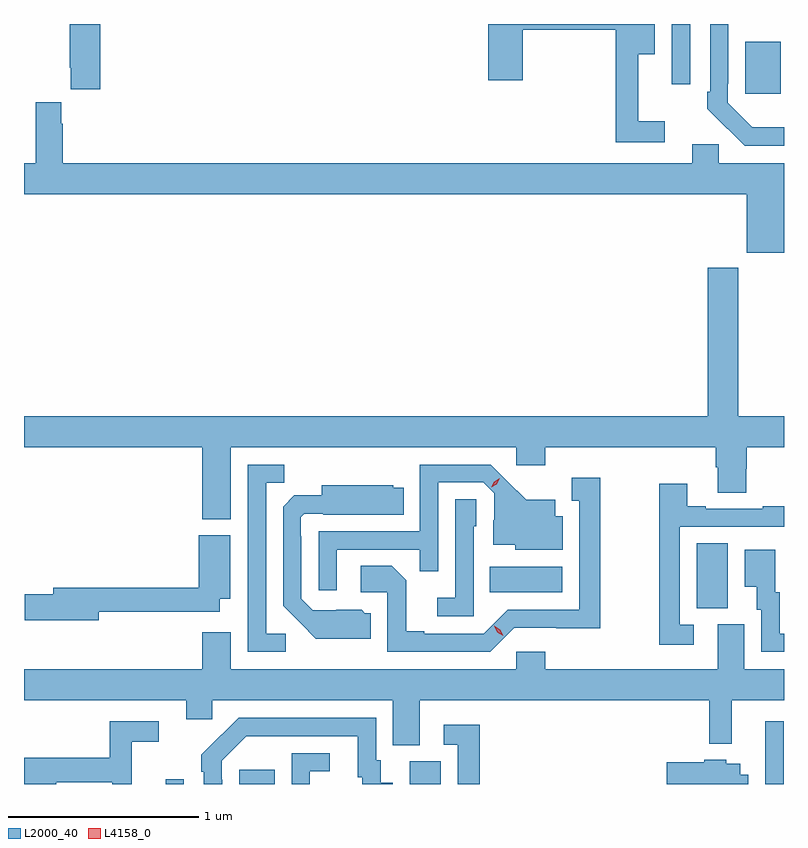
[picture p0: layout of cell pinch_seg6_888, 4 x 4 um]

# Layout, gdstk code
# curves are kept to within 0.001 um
import gdstk
lib = gdstk.Library(unit=1e-6, precision=1e-09)
def R(c, l, rs):  # rectangles x0, y0, x1, y1
    for r in rs: c.add(gdstk.rectangle(r[:2], r[2:], *l))
def P(c, l, *ps):  # polygons
    for p in ps: c.add(gdstk.Polygon(p, *l))
L2000_40 = (2000, 40)
L4158_0 = (4158, 0)

pinch_seg6_888 = lib.new_cell('pinch_seg6_888')
R(pinch_seg6_888, L2000_40, [(328.137,933.576,328.233,933.601), (328.523,933.576,328.711,933.652), (329.42,933.576,329.584,933.696), (331.293,933.576,331.39,933.907), (330.932,934.501,331.096,934.844), (329.842,934.586,330.223,934.72), (331.187,937.209,331.375,937.483), (330.801,937.26,330.897,937.576)])
P(pinch_seg6_888, L2000_40, [(330.763,937.063),(330.623,937.063),(330.623,937.418),(330.712,937.418),(330.712,937.576),(329.834,937.576),(329.834,937.281),(330.017,937.281),(330.017,937.546),(330.505,937.546),(330.505,936.954),(330.763,936.954)],
  [(327.791,937.576),(327.631,937.576),(327.631,937.345),(327.637,937.345),(327.637,937.233),(327.791,937.233)],
  [(331.391,937.032),(331.224,937.033),(331.095,937.161),(331.095,937.261),(331.098,937.261),(331.098,937.576),(331.002,937.576),(331.002,937.219),(330.987,937.219),(330.987,937.131),(331.184,936.936),(331.391,936.936)],
  [(331.391,936.844),(331.047,936.844),(331.047,936.942),(330.908,936.942),(330.908,936.844),(327.596,936.844),(327.596,937.052),(327.586,937.052),(327.586,937.165),(327.452,937.165),(327.452,936.844),(327.391,936.844),(327.391,936.68),(331.196,936.68),(331.196,936.371),(331.391,936.371)],
  [(328.48,935.348),(329.982,935.348),(329.982,935.253),(330.134,935.253),(330.134,935.348),(331.031,935.348),(331.031,935.242),(331.043,935.242),(331.043,935.11),(331.191,935.11),(331.191,935.235),(331.196,935.235),(331.196,935.348),(331.391,935.348),(331.391,935.512),(331.149,935.512),(331.149,936.292),(330.989,936.292),(330.989,935.512),(327.391,935.512),(327.391,935.348),(328.328,935.348),(328.328,934.97),(328.48,934.97)],
  [(329.037,934.809),(329.473,934.809),(329.473,934.696),(329.571,934.696),(329.571,935.163),(329.808,935.163),(329.865,935.106),(329.865,934.964),(329.861,934.964),(329.861,934.835),(329.976,934.835),(329.976,934.808),(330.226,934.808),(330.226,934.984),(330.187,934.984),(330.187,935.071),(330.035,935.071),(329.848,935.256),(329.475,935.256),(329.475,934.905),(328.941,934.905),(328.941,934.596),(329.037,934.596)],
  [(328.768,934.368),(328.665,934.368),(328.665,935.161),(328.761,935.161),(328.761,935.256),(328.569,935.256),(328.569,934.272),(328.768,934.272)],
  [(329.97,934.398),(330.425,934.397),(330.425,935.188),(330.275,935.188),(330.275,935.067),(330.314,935.067),(330.314,934.494),(329.937,934.494),(329.811,934.368),(329.497,934.368),(329.497,934.381),(329.403,934.381),(329.403,934.648),(329.327,934.724),(329.163,934.724),(329.163,934.584),(329.304,934.584),(329.304,934.272),(329.844,934.272)],
  [(330.916,934.413),(330.843,934.413),(330.843,934.929),(331.391,934.929),(331.391,935.038),(331.279,935.038),(331.279,935.025),(330.979,935.025),(330.979,935.038),(330.883,935.038),(330.883,935.155),(330.735,935.155),(330.735,934.308),(330.916,934.308)],
  [(329.215,934.476),(329.184,934.476),(329.168,934.492),(328.911,934.491),(328.851,934.551),(328.851,934.88),(328.848,934.88),(328.848,934.98),(328.866,934.998),(328.966,934.998),(328.966,934.994),(329.39,934.994),(329.39,935.134),(329.334,935.134),(329.334,935.149),(328.958,935.149),(328.958,935.095),(328.814,935.095),(328.755,935.036),(328.755,934.514),(328.927,934.34),(329.215,934.34)],
  [(329.757,934.932),(329.772,934.932),(329.772,935.075),(329.661,935.075),(329.661,934.555),(329.565,934.555),(329.565,934.458),(329.757,934.458)],
  [(327.784,934.482),(328.42,934.482),(328.42,934.55),(328.477,934.55),(328.477,934.885),(328.31,934.885),(328.31,934.61),(327.545,934.61),(327.545,934.574),(327.396,934.574),(327.396,934.439),(327.784,934.439)],
  [(331.391,934.368),(331.369,934.368),(331.369,934.584),(331.345,934.584),(331.345,934.81),(331.184,934.81),(331.184,934.613),(331.247,934.613),(331.247,934.494),(331.272,934.494),(331.272,934.272),(331.391,934.272)],
  [(329.473,934.016),(330.997,934.016),(330.997,933.788),(331.115,933.788),(331.115,934.016),(331.391,934.016),(331.391,934.18),(331.183,934.18),(331.183,934.416),(331.043,934.416),(331.043,934.18),(330.134,934.18),(330.134,934.273),(329.982,934.273),(329.982,934.18),(328.48,934.18),(328.48,934.375),(328.328,934.375),(328.328,934.18),(327.391,934.18),(327.391,934.016),(328.244,934.016),(328.244,933.918),(328.383,933.918),(328.383,934.016),(329.333,934.016),(329.333,933.781),(329.473,933.781)],
  [(328.434,933.599),(328.431,933.599),(328.431,933.699),(328.56,933.828),(329.147,933.828),(329.147,933.612),(329.171,933.612),(329.171,933.576),(329.332,933.576),(329.332,933.583),(329.269,933.583),(329.269,933.702),(329.244,933.702),(329.244,933.924),(328.52,933.924),(328.323,933.729),(328.323,933.641),(328.338,933.641),(328.338,933.576),(328.434,933.576)],
  [(327.562,933.586),(327.856,933.586),(327.856,933.576),(327.959,933.576),(327.959,933.798),(328.099,933.798),(328.099,933.906),(327.841,933.906),(327.841,933.715),(327.392,933.715),(327.392,933.576),(327.562,933.576)],
  [(329.789,933.889),(329.601,933.889),(329.601,933.783),(329.673,933.783),(329.673,933.576),(329.789,933.576)],
  [(328.896,933.642),(328.999,933.642),(328.999,933.738),(328.8,933.738),(328.8,933.576),(328.896,933.576)],
  [(331.204,933.625),(331.162,933.625),(331.162,933.682),(331.086,933.682),(331.086,933.703),(330.972,933.703),(330.972,933.69),(330.774,933.69),(330.774,933.576),(331.204,933.576)])
P(pinch_seg6_888, L4158_0, [(329.913,934.356),(329.882,934.375),(329.865,934.408),(329.865,934.408),(329.865,934.408),(329.897,934.389),(329.914,934.356),(329.914,934.356)],
  [(329.849,935.138),(329.849,935.138),(329.866,935.168),(329.896,935.184),(329.896,935.184),(329.896,935.184),(329.88,935.154),(329.85,935.138)])

lib.write_gds('pinch_seg6_888.gds')
